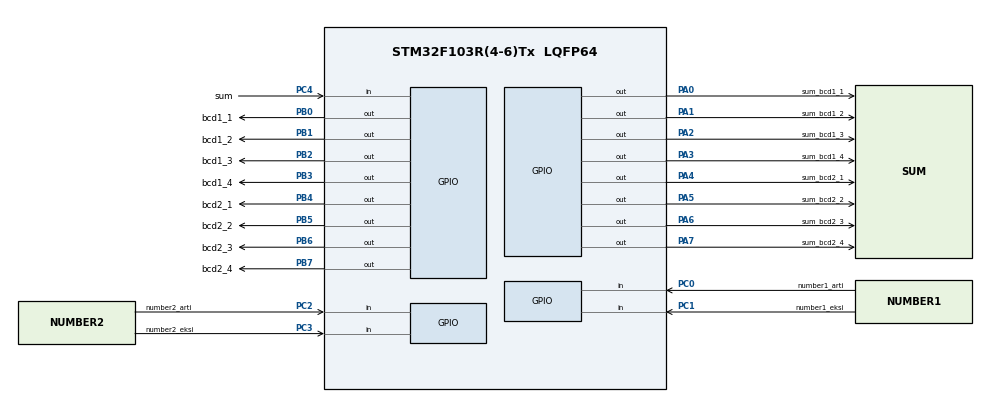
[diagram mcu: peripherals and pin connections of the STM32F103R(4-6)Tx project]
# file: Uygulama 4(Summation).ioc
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Mcu.Family=STM32F1
Mcu.Name=STM32F103R(4-6)Tx
Mcu.Package=LQFP64
NVIC.PriorityGroup=NVIC_PRIORITYGROUP_4
PA0-WKUP.GPIO_Label=sum_bcd1_1
PA0-WKUP.GPIO_Speed=GPIO_SPEED_FREQ_MEDIUM
PA0-WKUP.Signal=GPIO_Output
PA1.GPIO_Label=sum_bcd1_2
PA1.GPIO_Speed=GPIO_SPEED_FREQ_MEDIUM
PA1.Signal=GPIO_Output
PA2.GPIO_Label=sum_bcd1_3
PA2.GPIO_Speed=GPIO_SPEED_FREQ_MEDIUM
PA2.Signal=GPIO_Output
PA3.GPIO_Label=sum_bcd1_4
PA3.GPIO_Speed=GPIO_SPEED_FREQ_MEDIUM
PA3.Signal=GPIO_Output
PA4.GPIO_Label=sum_bcd2_1
PA4.GPIO_Speed=GPIO_SPEED_FREQ_MEDIUM
PA4.Signal=GPIO_Output
PA5.GPIO_Label=sum_bcd2_2
PA5.GPIO_Speed=GPIO_SPEED_FREQ_MEDIUM
PA5.Signal=GPIO_Output
PA6.GPIO_Label=sum_bcd2_3
PA6.GPIO_Speed=GPIO_SPEED_FREQ_MEDIUM
PA6.Signal=GPIO_Output
PA7.GPIO_Label=sum_bcd2_4
PA7.GPIO_Speed=GPIO_SPEED_FREQ_MEDIUM
PA7.Signal=GPIO_Output
PB0.GPIO_Label=bcd1_1
PB0.GPIO_Speed=GPIO_SPEED_FREQ_MEDIUM
PB0.Signal=GPIO_Output
PB1.GPIO_Label=bcd1_2
PB1.GPIO_Speed=GPIO_SPEED_FREQ_MEDIUM
PB1.Signal=GPIO_Output
PB2.GPIO_Label=bcd1_3
PB2.GPIO_Speed=GPIO_SPEED_FREQ_MEDIUM
PB2.Signal=GPIO_Output
PB3.GPIO_Label=bcd1_4
PB3.GPIO_Speed=GPIO_SPEED_FREQ_MEDIUM
PB3.Signal=GPIO_Output
PB4.GPIO_Label=bcd2_1
PB4.GPIO_Speed=GPIO_SPEED_FREQ_MEDIUM
PB4.Signal=GPIO_Output
PB5.GPIO_Label=bcd2_2
PB5.GPIO_Speed=GPIO_SPEED_FREQ_MEDIUM
PB5.Signal=GPIO_Output
PB6.GPIO_Label=bcd2_3
PB6.GPIO_Speed=GPIO_SPEED_FREQ_MEDIUM
PB6.Signal=GPIO_Output
PB7.GPIO_Label=bcd2_4
PB7.GPIO_Speed=GPIO_SPEED_FREQ_MEDIUM
PB7.Signal=GPIO_Output
PC0.GPIO_Label=number1_arti
PC0.GPIO_PuPd=GPIO_PULLDOWN
PC0.Signal=GPIO_Input
PC1.GPIO_Label=number1_eksi
PC1.GPIO_PuPd=GPIO_PULLDOWN
PC1.Signal=GPIO_Input
PC2.GPIO_Label=number2_arti
PC2.GPIO_PuPd=GPIO_PULLDOWN
PC2.Signal=GPIO_Input
PC3.GPIO_Label=number2_eksi
PC3.GPIO_PuPd=GPIO_PULLDOWN
PC3.Signal=GPIO_Input
PC4.GPIO_Label=sum
PC4.GPIO_PuPd=GPIO_PULLDOWN
PC4.Signal=GPIO_Input
ProjectManager.HeapSize=0x200
ProjectManager.StackSize=0x400
ProjectManager.TargetToolchain=MDK-ARM V5.27
RCC.APB1Freq_Value=8000000
RCC.APB2Freq_Value=8000000
VP_SYS_VS_ND.Mode=No_Debug
board=custom

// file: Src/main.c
/* USER CODE BEGIN Header */
/**
  ******************************************************************************
  * @file           : main.c
  * @brief          : Main program body
  ******************************************************************************
  * @attention
  *
  * <h2><center>&copy; Copyright (c) 2020 STMicroelectronics.
  * All rights reserved.</center></h2>
  *
  * This software component is licensed by ST under BSD 3-Clause license,
  * the "License"; You may not use this file except in compliance with the
  * License. You may obtain a copy of the License at:
  *                        opensource.org/licenses/BSD-3-Clause
  *
  ******************************************************************************
  */
/* USER CODE END Header */

#include "main.h"

/* USER CODE BEGIN PV */
uint16_t number1=0;
uint16_t number2=0;
uint16_t sumButtonState=0;

uint16_t number1artiState=0;
uint16_t number1eksiState=0;
uint16_t number2artiState=0;
uint16_t number2eksiState=0;

uint16_t firstDigit=0;
uint16_t secondDigit=0;
uint16_t result=0;

/* USER CODE END PV */

void SystemClock_Config(void);
static void MX_GPIO_Init(void);

int main(void)
{

  /* MCU Configuration--------------------------------------------------------*/

  /* Reset of all peripherals, Initializes the Flash interface and the Systick. */
  HAL_Init();

  /* Configure the system clock */
  SystemClock_Config();

  /* Initialize all configured peripherals */
  MX_GPIO_Init();

  /* Infinite loop */
  while (1)
  {

    /* USER CODE BEGIN 3 */

		number1artiState=HAL_GPIO_ReadPin(GPIOC,number1_arti_Pin);
		number1eksiState=HAL_GPIO_ReadPin(GPIOC,number1_eksi_Pin);
		number2artiState=HAL_GPIO_ReadPin(GPIOC,number2_arti_Pin);
		number2eksiState=HAL_GPIO_ReadPin(GPIOC,number2_eksi_Pin);
		sumButtonState=HAL_GPIO_ReadPin(GPIOC,sum_Pin);

		if(number1artiState){
			if(number1!=9){
				number1++;
			}
		}

		if(number1eksiState){
			if(number1>0){
				number1--;
			}
		}

		if(number2artiState){
			if(number2!=9){
				number2++;
			}
		}

		if(number2eksiState){
			if(number2>0){
				number2--;
			}
		}

		GPIOB->ODR=number1 | (number2<<4); // ilkten bunlari yaptiki sifir yazsin diye display'lerde
		GPIOA->ODR=firstDigit | (secondDigit<<4);
		result=number1+number2;

		if(sumButtonState){
			firstDigit=result%10;
			secondDigit=result/10;
      GPIOA->ODR=firstDigit | (secondDigit<<4); // 4 bit sola kaydirdi,sebep : display'e register seviyesinde yazdirmak için,tam anlamis degilim video 186 da arif mandal
		}
		HAL_Delay(150);

  }
  /* USER CODE END 3 */
}

void SystemClock_Config(void)
{
  RCC_OscInitTypeDef RCC_OscInitStruct = {0};
  RCC_ClkInitTypeDef RCC_ClkInitStruct = {0};

  /** Initializes the CPU, AHB and APB busses clocks
  */
  RCC_OscInitStruct.OscillatorType = RCC_OSCILLATORTYPE_HSI;
  RCC_OscInitStruct.HSIState = RCC_HSI_ON;
  RCC_OscInitStruct.HSICalibrationValue = RCC_HSICALIBRATION_DEFAULT;
  RCC_OscInitStruct.PLL.PLLState = RCC_PLL_NONE;
  if (HAL_RCC_OscConfig(&RCC_OscInitStruct) != HAL_OK)
  {
    Error_Handler();
  }
  /** Initializes the CPU, AHB and APB busses clocks
  */
  RCC_ClkInitStruct.ClockType = RCC_CLOCKTYPE_HCLK|RCC_CLOCKTYPE_SYSCLK
                              |RCC_CLOCKTYPE_PCLK1|RCC_CLOCKTYPE_PCLK2;
  RCC_ClkInitStruct.SYSCLKSource = RCC_SYSCLKSOURCE_HSI;
  RCC_ClkInitStruct.AHBCLKDivider = RCC_SYSCLK_DIV1;
  RCC_ClkInitStruct.APB1CLKDivider = RCC_HCLK_DIV1;
  RCC_ClkInitStruct.APB2CLKDivider = RCC_HCLK_DIV1;

  if (HAL_RCC_ClockConfig(&RCC_ClkInitStruct, FLASH_LATENCY_0) != HAL_OK)
  {
    Error_Handler();
  }
}

static void MX_GPIO_Init(void)
{
  GPIO_InitTypeDef GPIO_InitStruct = {0};

  /* GPIO Ports Clock Enable */
  __HAL_RCC_GPIOC_CLK_ENABLE();
  __HAL_RCC_GPIOA_CLK_ENABLE();
  __HAL_RCC_GPIOB_CLK_ENABLE();

  /*Configure GPIO pin Output Level */
  HAL_GPIO_WritePin(GPIOA, sum_bcd1_1_Pin|sum_bcd1_2_Pin|sum_bcd1_3_Pin|sum_bcd1_4_Pin
                          |sum_bcd2_1_Pin|sum_bcd2_2_Pin|sum_bcd2_3_Pin|sum_bcd2_4_Pin, GPIO_PIN_RESET);

  /*Configure GPIO pin Output Level */
  HAL_GPIO_WritePin(GPIOB, bcd1_1_Pin|bcd1_2_Pin|bcd1_3_Pin|bcd1_4_Pin
                          |bcd2_1_Pin|bcd2_2_Pin|bcd2_3_Pin|bcd2_4_Pin, GPIO_PIN_RESET);

  /*Configure GPIO pins : number1_arti_Pin number1_eksi_Pin number2_arti_Pin number2_eksi_Pin
                           sum_Pin */
  GPIO_InitStruct.Pin = number1_arti_Pin|number1_eksi_Pin|number2_arti_Pin|number2_eksi_Pin
                          |sum_Pin;
  GPIO_InitStruct.Mode = GPIO_MODE_INPUT;
  GPIO_InitStruct.Pull = GPIO_PULLDOWN;
  HAL_GPIO_Init(GPIOC, &GPIO_InitStruct);

  /*Configure GPIO pins : sum_bcd1_1_Pin sum_bcd1_2_Pin sum_bcd1_3_Pin sum_bcd1_4_Pin
                           sum_bcd2_1_Pin sum_bcd2_2_Pin sum_bcd2_3_Pin sum_bcd2_4_Pin */
  GPIO_InitStruct.Pin = sum_bcd1_1_Pin|sum_bcd1_2_Pin|sum_bcd1_3_Pin|sum_bcd1_4_Pin
                          |sum_bcd2_1_Pin|sum_bcd2_2_Pin|sum_bcd2_3_Pin|sum_bcd2_4_Pin;
  GPIO_InitStruct.Mode = GPIO_MODE_OUTPUT_PP;
  GPIO_InitStruct.Pull = GPIO_NOPULL;
  GPIO_InitStruct.Speed = GPIO_SPEED_FREQ_MEDIUM;
  HAL_GPIO_Init(GPIOA, &GPIO_InitStruct);

  /*Configure GPIO pins : bcd1_1_Pin bcd1_2_Pin bcd1_3_Pin bcd1_4_Pin
                           bcd2_1_Pin bcd2_2_Pin bcd2_3_Pin bcd2_4_Pin */
  GPIO_InitStruct.Pin = bcd1_1_Pin|bcd1_2_Pin|bcd1_3_Pin|bcd1_4_Pin
                          |bcd2_1_Pin|bcd2_2_Pin|bcd2_3_Pin|bcd2_4_Pin;
  GPIO_InitStruct.Mode = GPIO_MODE_OUTPUT_PP;
  GPIO_InitStruct.Pull = GPIO_NOPULL;
  GPIO_InitStruct.Speed = GPIO_SPEED_FREQ_MEDIUM;
  HAL_GPIO_Init(GPIOB, &GPIO_InitStruct);

}

void Error_Handler(void)
{
}

/************************ (C) COPYRIGHT STMicroelectronics *****END OF FILE****/
